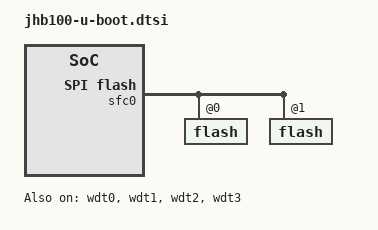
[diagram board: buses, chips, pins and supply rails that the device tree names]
// SPDX-License-Identifier: GPL-2.0 OR MIT
/*
 * Copyright (c) 2021-2022 StarFive Technology Co., Ltd.
 */

#include "jhb100-crg-u-boot.dtsi"
#include "jhb100-img.dtsi"
#include "jhb100-evb1-sfc0-flash.dtsi"
/ {
	aliases {
		timer0 = &timer0;
		ethernet0 = &gmac0;
		ethernet1 = &gmac1;
		ethernet2 = &gmac2;
		ethernet3 = &gmac3;
		spi0 = &sfc0;
		spi1 = &sfc1;
		spi2 = &spi0;
		wdt0 = &wdt0;
		wdt1 = &wdt1;
		wdt2 = &wdt2;
		wdt3 = &wdt3;
		wdt_ext = &wdt_ext;
		scp_buffer_cache = &scp_buffer_cache;
	};

	chosen {
		/* tick-timer = "timer0"; */
		bootph-pre-ram;

		opensbi-domains {
			compatible = "opensbi,domain,config";
			jhb100-system-suspend;
		};
	};

	config {
		u-boot,spl-primary-payload-offset = <0x210000>;
		u-boot,spl-payload-offset = <0x210000>;
		bootph-pre-ram;
	};

	cpus {
		bootph-pre-ram;
		cpu@0 {
			bootph-pre-ram;
		};

		cpu@1 {
			bootph-pre-ram;
		};

		cpu@2 {
			bootph-pre-ram;
		};

		cpu@3 {
			bootph-pre-ram;
		};
	};

	memory {
		bootph-pre-ram;
	};

	reserved-memory {
		bootph-pre-ram;
		/delete-node/ ramoops@4e200000;
		/delete-node/ dma-reserved@4e300000;
		/delete-node/ linux,dma@40e300000;
		/delete-node/ linux,cma;
	};

	soc {
		bootph-pre-ram;

		rpmi: rpmi-shmem@12c10000 {
			compatible = "riscv,rpmi-shmem-mbox";
			reg =	<0x0 0x12c10000 0x0 0x400>,
				<0x0 0x12c10400 0x0 0x400>,
				<0x0 0x12c10800 0x0 0x400>,
				<0x0 0x12c10c00 0x0 0x400>,
				<0x0 0x12c08000 0x0 0x8000>;
			reg-names = "a2p-req", "p2a-ack", "p2a-req",
				    "a2p-ack", "db-reg";
			#mbox-cells = <0x01>;
			riscv,slot-size = <0x40>;
			#address-cells = <1>;
			#size-cells = <0>;
			performance@10 {
				reg = <0x0A>;
				riscv,sbi-mpxy-channel-id = <0x1003>;
				mboxes = <&rpmi 0x0A>;
				compatible = "riscv,rpmi-mpxy-performance";
			};
			power-domain@9 {
				reg = <0x09>;
				riscv,sbi-mpxy-channel-id = <0x1002>;
				mboxes = <&rpmi 0x09>;
				compatible = "riscv,rpmi-mpxy-device-power";
			};
			clock@8 {
				reg = <0x08>;
				riscv,sbi-mpxy-channel-id = <0x1000>;
				mboxes = <&rpmi 0x08>;
				compatible = "riscv,rpmi-mpxy-clock";
			};
			sec-boot@8000 {
				bootph-pre-ram;
				reg = <0x8000>;
				riscv,sbi-mpxy-channel-id = <0x1005>;
				mboxes = <&rpmi 0x8000>;
				compatible = "riscv,rpmi-mpxy-jhb100-sec", "riscv,rpmi-jhb100-sec";
			};
			hsm@4 {
				reg = <0x0 0x0A200000 0x0 0x4000>;
					mboxes = <&rpmi 0x05>;
					compatible = "riscv,jhb100-rpmi-hsm";
			};

			sysreset@2 {
				reg = <0x0 0x14110000 0x0 0x2000>,
							<0x0 0x13010000 0x0 0x4000>,
							<0x0 0x14112000 0x0 0x2000>;
				mboxes = <&rpmi 0x03>;
				compatible = "riscv,jhb100-rpmi-system-reset";
			};
		};
	};
};

&scp_buffer_cache {
	bootph-pre-ram;
};

&cpu0_intc {
	bootph-pre-ram;
};

&cpu1_intc {
	bootph-pre-ram;
};

&cpu2_intc {
	bootph-pre-ram;
};

&cpu3_intc {
	bootph-pre-ram;
};

&uart6 {
	bootph-pre-ram;
	bootph-some-ram;
	dlf-size = <6>;
	/delete-property/ clock-frequency;
	/delete-property/ resets;
	/delete-property/ dmas;
};

&sol4 {
	/delete-property/ memory-region;
};

&sol5 {
	/delete-property/ memory-region;
};

&pcie_ep0 {
	/delete-property/ memory-region;
};

&pcie_ep1 {
	/delete-property/ memory-region;
};

&pcie0_mmbi {
	/delete-property/ memory-region;
};

&pcie1_mmbi {
	/delete-property/ memory-region;
};

&espi0_mmbi {
	/delete-property/ memory-region;
};

&espi1_mmbi {
	/delete-property/ memory-region;
};

&espi0 {
	/delete-property/ memory-region;
};

&espi1 {
	/delete-property/ memory-region;
};

&vce0 {
	/delete-property/ memory-region;
};

&sol6 {
	/delete-property/ memory-region;
};

&sol7 {
	/delete-property/ memory-region;
};

&sol8 {
	/delete-property/ memory-region;
};

&sol9 {
	/delete-property/ memory-region;
};

&sol10 {
	/delete-property/ memory-region;
};

&sol11 {
	/delete-property/ memory-region;
};

&sol12 {
	/delete-property/ memory-region;
};

&sol13 {
	/delete-property/ memory-region;
};

&sol14 {
	/delete-property/ memory-region;
};

&dc0_clk {
	/delete-property/ memory-region;
};

&dc1_clk {
	/delete-property/ memory-region;
};

&npu {
	/delete-property/ memory-region;
};

&clint {
	bootph-pre-ram;
};

&plic {
	bootph-pre-ram;
};

&sfc0 {
	bootph-pre-ram;
	spi-max-frequency = <5000000>;
	rx-sample-delay-ns = <0>;
	/delete-property/ resets;
	/delete-property/ dmas;

	flash@0 {
		spi-tx-bus-width = <4>;
		spi-rx-bus-width = <4>;
	};

	flash@1 {
		spi-tx-bus-width = <4>;
		spi-rx-bus-width = <4>;
	};
};

&timer0 {
	status = "disabled";
};

&timer1 {
	status = "disabled";
};

&timer2 {
	status = "disabled";
};

&wdt0 {
	bootph-pre-ram;
	timeout-sec = <120>;
	hw_margin_ms = <1000>;
	u-boot,autostart;
	status = "okay";
};

&wdt1 {
	bootph-pre-ram;
	timeout-sec = <15>;
	hw_margin_ms = <1000>;
	u-boot,noautostart;
	status = "okay";
};

&wdt2 {
	bootph-pre-ram;
	timeout-sec = <15>;
	hw_margin_ms = <1000>;
	u-boot,noautostart;
	status = "okay";
};

&wdt3 {
	bootph-pre-ram;
	timeout-sec = <15>;
	hw_margin_ms = <1000>;
	u-boot,noautostart;
	status = "okay";
};

&wdt_ext {
	bootph-pre-ram;
	status = "disabled";
	timeout-sec = <15>;
	hw_margin_ms = <1000>;
	u-boot,noautostart;
};

&pinctrl_bmcperiph0 {
	bootph-pre-ram;

	gmac1_mdio_pins: gmac1_mdio-grp {
		bootph-pre-ram;
		gmac1_mdc-pins {
			bootph-pre-ram;
		};

		gmac1_mdio-pins {
			bootph-pre-ram;
		};
	};

	gmac2_mdio_pins: gmac2_mdio-grp {
		bootph-pre-ram;
		gmac2_mdc-pins {
			bootph-pre-ram;
			bias-pull-up;
			input-enable;
		};

		gmac2_mdio-pins {
			bootph-pre-ram;
		};
	};

	gmac3_mdio_pins: gmac3_mdio-grp {
		bootph-pre-ram;
		gmac3_mdc-pins {
			bootph-pre-ram;
		};

		gmac3_mdio-pins {
			bootph-pre-ram;
		};
	};
};

&pinctrl_bmcperiph1 {
	bootph-pre-ram;

	spi0_pins: spi0-grp {
		bootph-pre-ram;

		spi0_sclk-pins {
			bootph-pre-ram;
		};

		spi0_cs0-pins {
			bootph-pre-ram;
		};

		spi0_cs1-pins {
			bootph-pre-ram;
		};

		spi0_tx-pins {
			bootph-pre-ram;
		};

		spi0_rx-pins {
			bootph-pre-ram;
		};
	};

	sfc0_pins: sfc0-grp {
		bootph-pre-ram;

		sfc0_sclk-pins {
			bootph-pre-ram;
		};

		sfc0_cs0-pins {
			bootph-pre-ram;
		};

		sfc0_cs1-pins {
			bootph-pre-ram;
		};

		sfc0_io0-pins {
			bootph-pre-ram;
		};

		sfc0_io1-pins {
			bootph-pre-ram;
		};

		sfc0_io2-pins {
			bootph-pre-ram;
		};

		sfc0_io3-pins {
			bootph-pre-ram;
		};
	};
};

&pinctrl_bmcperiph2 {
	bootph-pre-ram;

	gmac2_rgmii_pins: gmac2_rgmii-grp {
		bootph-pre-ram;
		gmac2_rgmii_txen-pins {
			bootph-pre-ram;
		};

		gmac2_rgmii_txclk-pins {
			bootph-pre-ram;
		};

		gmac2_rgmii_txd0-pins {
			bootph-pre-ram;
		};

		gmac2_rgmii_txd1-pins {
			bootph-pre-ram;
		};

		gmac2_rgmii_txd2-pins {
			bootph-pre-ram;
		};

		gmac2_rgmii_txd3-pins {
			bootph-pre-ram;
		};

		gmac2_rgmii_rxclk-pins {
			bootph-pre-ram;
		};

		gmac2_rgmii_rxdv-pins {
			bootph-pre-ram;
		};

		gmac2_rgmii_rxd0-pins {
			bootph-pre-ram;
		};

		gmac2_rgmii_rxd1-pins {
			bootph-pre-ram;
		};

		gmac2_rgmii_rxd2-pins {
			bootph-pre-ram;
		};

		gmac2_rgmii_rxd3-pins {
			bootph-pre-ram;
		};
	};
};

&pinctrl_bmcperiph2_pok {
	bootph-pre-ram;
};

&pinctrl_bmcperiph3 {
	bootph-pre-ram;

	gmac0_mdio_pins: gmac0_mdio-grp {
		bootph-pre-ram;
		gmac0_mdc-pins {
			bootph-pre-ram;
		};

		gmac0_mdio-pins {
			bootph-pre-ram;
		};
	};

	gmac0_rmii_pins: gmac0_rmii-grp {
		bootph-pre-ram;
		gmac0_rmii_txen-pins {
			bootph-pre-ram;
		};

		gmac0_rmii_txd0-pins {
			bootph-pre-ram;
		};

		gmac0_rmii_txd1-pins {
			bootph-pre-ram;
		};

		gmac0_rmii_rclki-pins {
			bootph-pre-ram;
		};

		gmac0_rmii_rclko-pins {
			bootph-pre-ram;
		};

		gmac0_rmii_rxdv-pins {
			bootph-pre-ram;
		};

		gmac0_rmii_rxd0-pins {
			bootph-pre-ram;
		};

		gmac0_rmii_rxd1-pins {
			bootph-pre-ram;
		};
	};
};

&pinctrl_sys0 {
	bootph-pre-ram;
};

&pinctrl_sys1 {
	bootph-pre-ram;
};

&pinctrl_sys2 {
	gpiow-vsel = <JHB100_VREF_3_3V>;
	bootph-pre-ram;
	bootph-some-ram;

	uart6_pins: uart6-grp {
		bootph-pre-ram;
		bootph-some-ram;

		uart6_tx-pins {
			drive-strength = <12>;
			bootph-pre-ram;
			bootph-some-ram;
		};

		uart6_rx-pins {
			drive-strength = <12>;
			bootph-pre-ram;
			bootph-some-ram;
		};
	};
};

&pinctrl_emmc {
	bootph-pre-ram;

	emmc0_pins: emmc0-grp {
		bootph-pre-ram;

		emmc0_clk-pins {
			bootph-pre-ram;
		};

		emmc0_rst-pins {
			bootph-pre-ram;
		};

		emmc0_cmd-pins {
			bootph-pre-ram;
		};

		emmc0_dqs-pins {
			bootph-pre-ram;
		};

		emmc0_data0-pins {
			bootph-pre-ram;
		};

		emmc0_data1-pins {
			bootph-pre-ram;
		};

		emmc0_data2-pins {
			bootph-pre-ram;
		};

		emmc0_data3-pins {
			bootph-pre-ram;
		};

		emmc0_data4-pins {
			bootph-pre-ram;
		};

		emmc0_data5-pins {
			bootph-pre-ram;
		};

		emmc0_data6-pins {
			bootph-pre-ram;
		};

		emmc0_data7-pins {
			bootph-pre-ram;
		};
	};
};

&spi0 {
	bootph-pre-ram;
	spi-max-frequency = <10000000>;
	/delete-property/ dmas;
};

&hwspinlock {
	bootph-pre-ram;
};

&pwm {
	bootph-pre-ram;
};

&emmc0 {
	bootph-pre-ram;
};

&syscon_bmcperiph2 {
	bootph-pre-ram;
};

/delete-node/ &espi0_mmbi_buffer_cache;
/delete-node/ &scp_buffer_uncache;
/delete-node/ &espi0_mmbi_buffer_uncache;
/delete-node/ &espi0_perif_mem_cache;
/delete-node/ &espi0_perif_mem_uncache;
/delete-node/ &pcie0_mmbi_buffer_cache;
/delete-node/ &pcie0_mmbi_buffer_uncache;
/delete-node/ &espi0_vw_mem_cache;
/delete-node/ &espi0_vw_mem_uncache;
/delete-node/ &pcie0_hdma_mem_cache;
/delete-node/ &pcie0_hdma_mem_uncache;
/delete-node/ &pcie0_media_mem_cache;
/delete-node/ &pcie0_media_mem_uncache;
/delete-node/ &pcie0_user_mem_cache;
/delete-node/ &pcie0_user_mem_uncache;
/delete-node/ &sol_tx_mem_cache;
/delete-node/ &sol_tx_mem_uncache;
/delete-node/ &sol_rx_mem_cache;
/delete-node/ &sol_rx_mem_uncache;
/delete-node/ &espi1_vw_mem_cache;
/delete-node/ &espi1_vw_mem_uncache;
/delete-node/ &espi1_mmbi_buffer_cache;
/delete-node/ &espi1_mmbi_buffer_uncache;
/delete-node/ &espi1_perif_mem_cache;
/delete-node/ &espi1_perif_mem_uncache;
/delete-node/ &pcie1_mmbi_buffer_cache;
/delete-node/ &pcie1_mmbi_buffer_uncache;
/delete-node/ &pcie1_media_mem_cache;
/delete-node/ &pcie1_media_mem_uncache;
/delete-node/ &pcie1_hdma_mem_cache;
/delete-node/ &pcie1_hdma_mem_uncache;
/delete-node/ &pcie1_user_mem_cache;
/delete-node/ &pcie1_user_mem_uncache;
